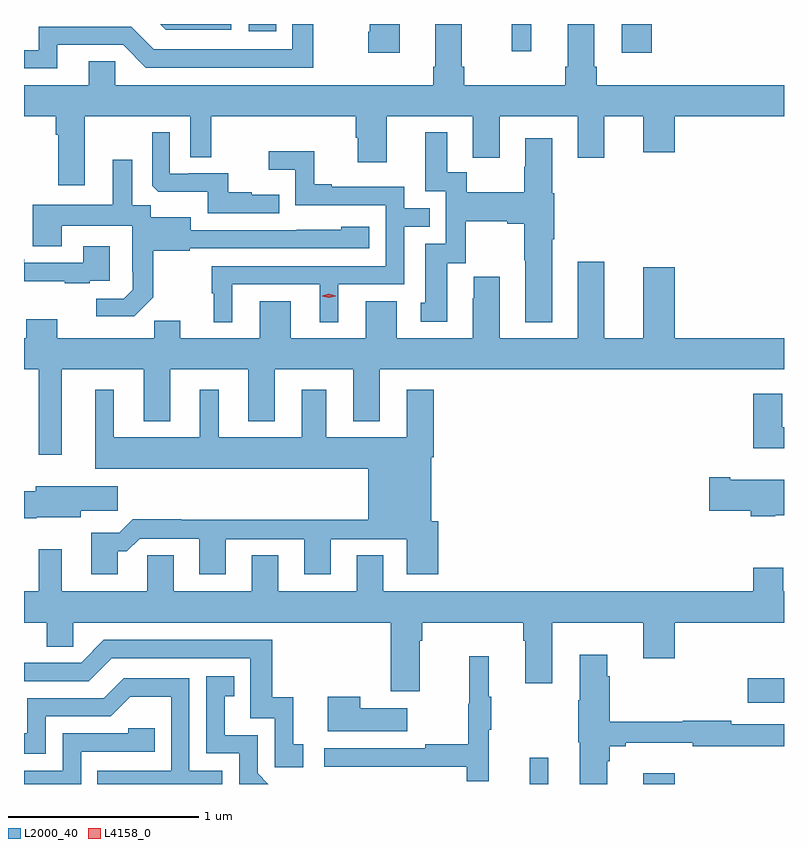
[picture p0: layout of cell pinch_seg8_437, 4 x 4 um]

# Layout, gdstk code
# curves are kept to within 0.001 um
import gdstk
lib = gdstk.Library(unit=1e-6, precision=1e-09)
def R(c, l, rs):  # rectangles x0, y0, x1, y1
    for r in rs: c.add(gdstk.rectangle(r[:2], r[2:], *l))
def P(c, l, *ps):  # polygons
    for p in ps: c.add(gdstk.Polygon(p, *l))
L2000_40 = (2000, 40)
L4158_0 = (4158, 0)

pinch_seg8_437 = lib.new_cell('pinch_seg8_437')
R(pinch_seg8_437, L2000_40, [(332.241,1132.966,332.338,1133.104), (332.84,1132.966,333.004,1133.023), (333.39,1133.393,333.58,1133.523), (332.726,1136.814,332.885,1136.966), (332.146,1136.823,332.249,1136.966), (330.762,1136.928,330.908,1136.966)])
P(pinch_seg8_437, L2000_40, [(331.558,1136.966),(331.4,1136.966),(331.4,1136.926),(331.393,1136.926),(331.393,1136.814),(331.558,1136.814)],
  [(330.672,1136.966),(330.297,1136.966),(330.326,1136.937),(330.672,1136.937)],
  [(329.755,1136.856),(330.102,1136.856),(330.222,1136.736),(331.102,1136.736),(331.102,1136.966),(330.993,1136.966),(330.993,1136.832),(330.264,1136.832),(330.144,1136.952),(329.658,1136.952),(329.658,1136.829),(329.58,1136.829),(329.58,1136.733),(329.755,1136.733)],
  [(329.899,1136.48),(330.456,1136.48),(330.456,1136.266),(330.565,1136.266),(330.565,1136.48),(331.325,1136.48),(331.325,1136.367),(331.337,1136.367),(331.337,1136.238),(331.489,1136.238),(331.489,1136.48),(331.943,1136.48),(331.943,1136.262),(332.083,1136.262),(332.083,1136.48),(332.495,1136.48),(332.495,1136.262),(332.635,1136.262),(332.635,1136.48),(332.84,1136.48),(332.84,1136.292),(333.004,1136.292),(333.004,1136.48),(333.58,1136.48),(333.58,1136.644),(332.594,1136.644),(332.594,1136.74),(332.581,1136.74),(332.581,1136.965),(332.441,1136.965),(332.441,1136.74),(332.429,1136.74),(332.429,1136.644),(331.898,1136.644),(331.898,1136.74),(331.885,1136.74),(331.885,1136.966),(331.745,1136.966),(331.745,1136.74),(331.733,1136.74),(331.733,1136.644),(330.06,1136.644),(330.06,1136.771),(329.921,1136.771),(329.921,1136.644),(329.58,1136.644),(329.58,1136.48),(329.747,1136.48),(329.747,1136.384),(329.759,1136.384),(329.759,1136.118),(329.899,1136.118)],
  [(332.359,1135.832),(332.372,1135.832),(332.372,1136.076),(332.359,1136.076),(332.359,1136.365),(332.219,1136.365),(332.219,1136.214),(332.212,1136.214),(332.212,1136.08),(331.909,1136.08),(331.909,1136.186),(331.807,1136.186),(331.807,1136.395),(331.691,1136.395),(331.691,1136.085),(331.8,1136.085),(331.8,1135.809),(331.691,1135.809),(331.691,1135.5),(331.667,1135.5),(331.667,1135.398),(331.807,1135.398),(331.807,1135.706),(331.905,1135.706),(331.905,1135.928),(332.123,1135.928),(332.123,1135.916),(332.212,1135.916),(332.212,1135.723),(332.219,1135.723),(332.219,1135.397),(332.359,1135.397)],
  [(330.923,1136.068),(330.779,1136.068),(330.779,1136.08),(330.656,1136.08),(330.656,1136.181),(330.448,1136.181),(330.448,1136.178),(330.348,1136.178),(330.348,1136.395),(330.255,1136.395),(330.255,1136.115),(330.287,1136.084),(330.546,1136.084),(330.546,1135.971),(330.923,1135.971)],
  [(330.676,1135.596),(331.136,1135.596),(331.136,1135.397),(331.234,1135.397),(331.234,1135.596),(331.581,1135.596),(331.581,1135.899),(331.715,1135.899),(331.715,1135.995),(331.581,1135.995),(331.581,1136.109),(331.201,1136.109),(331.201,1136.122),(331.107,1136.122),(331.107,1136.297),(330.867,1136.297),(330.867,1136.198),(331.008,1136.198),(331.008,1136.013),(331.485,1136.013),(331.485,1135.692),(330.567,1135.692),(330.567,1135.548),(330.578,1135.548),(330.578,1135.397),(330.676,1135.397)],
  [(330.261,1135.527),(330.261,1135.773),(330.453,1135.773),(330.453,1135.785),(331.396,1135.785),(331.396,1135.9),(331.251,1135.9),(331.251,1135.882),(330.457,1135.881),(330.457,1135.948),(330.246,1135.948),(330.246,1136.012),(330.151,1136.012),(330.151,1136.251),(330.047,1136.251),(330.047,1136.014),(329.627,1136.014),(329.627,1135.795),(329.779,1135.795),(329.779,1135.904),(330.15,1135.904),(330.15,1135.663),(330.152,1135.663),(330.152,1135.568),(330.105,1135.521),(329.961,1135.521),(329.961,1135.427),(330.161,1135.427)],
  [(329.927,1135.614),(330.031,1135.614),(330.031,1135.795),(329.891,1135.795),(329.891,1135.71),(329.581,1135.71),(329.581,1135.729),(329.58,1135.729),(329.58,1135.613),(329.795,1135.613),(329.795,1135.602),(329.927,1135.602)],
  [(330.761,1134.875),(330.901,1134.875),(330.901,1135.148),(331.313,1135.148),(331.313,1134.875),(331.453,1134.875),(331.453,1135.148),(333.58,1135.148),(333.58,1135.312),(333.004,1135.312),(333.004,1135.687),(332.84,1135.687),(332.84,1135.312),(332.635,1135.312),(332.635,1135.714),(332.495,1135.714),(332.495,1135.312),(332.083,1135.312),(332.083,1135.636),(331.946,1135.636),(331.946,1135.523),(331.943,1135.523),(331.943,1135.312),(331.543,1135.312),(331.543,1135.507),(331.379,1135.507),(331.379,1135.312),(330.985,1135.312),(330.985,1135.507),(330.821,1135.507),(330.821,1135.312),(330.403,1135.312),(330.403,1135.403),(330.265,1135.403),(330.265,1135.312),(329.755,1135.312),(329.755,1135.411),(329.591,1135.411),(329.591,1135.312),(329.58,1135.312),(329.58,1135.148),(329.658,1135.148),(329.658,1134.699),(329.779,1134.699),(329.779,1135.148),(330.209,1135.148),(330.209,1134.875),(330.349,1134.875),(330.349,1135.148),(330.761,1135.148)],
  [(330.073,1134.191),(330.122,1134.191),(330.189,1134.258),(330.503,1134.258),(330.503,1134.069),(330.643,1134.069),(330.643,1134.255),(331.055,1134.255),(331.055,1134.069),(331.195,1134.069),(331.195,1134.255),(331.595,1134.255),(331.595,1134.069),(331.76,1134.069),(331.76,1134.348),(331.723,1134.348),(331.723,1134.686),(331.736,1134.686),(331.736,1135.042),(331.595,1135.042),(331.595,1134.79),(331.171,1134.79),(331.171,1135.042),(331.043,1135.042),(331.043,1134.79),(330.604,1134.79),(330.604,1135.042),(330.506,1135.042),(330.506,1134.79),(330.052,1134.79),(330.052,1135.042),(329.954,1135.042),(329.954,1134.626),(331.391,1134.626),(331.391,1134.356),(330.407,1134.356),(330.407,1134.359),(330.152,1134.359),(330.082,1134.289),(329.933,1134.289),(329.933,1134.069),(330.073,1134.069)],
  [(333.58,1134.844),(333.571,1134.844),(333.571,1135.021),(333.419,1135.021),(333.419,1134.734),(333.58,1134.734)],
  [(333.534,1134.38),(333.58,1134.38),(333.58,1134.568),(333.298,1134.568),(333.298,1134.581),(333.186,1134.581),(333.186,1134.403),(333.404,1134.403),(333.404,1134.374),(333.534,1134.374)],
  [(329.646,1134.371),(329.878,1134.371),(329.878,1134.403),(330.073,1134.403),(330.073,1134.532),(329.642,1134.532),(329.642,1134.506),(329.58,1134.506),(329.58,1134.364),(329.646,1134.364)],
  [(331.663,1133.72),(331.676,1133.72),(331.676,1133.816),(332.207,1133.816),(332.207,1133.72),(332.219,1133.72),(332.219,1133.496),(332.359,1133.496),(332.359,1133.816),(332.84,1133.816),(332.84,1133.628),(333.004,1133.628),(333.004,1133.816),(333.58,1133.816),(333.58,1133.98),(333.575,1133.98),(333.575,1134.104),(333.419,1134.104),(333.419,1133.98),(331.471,1133.98),(331.471,1134.17),(331.331,1134.17),(331.331,1133.98),(330.919,1133.98),(330.919,1134.17),(330.779,1134.17),(330.779,1133.98),(330.367,1133.98),(330.367,1134.17),(330.228,1134.17),(330.228,1133.98),(329.779,1133.98),(329.779,1134.202),(329.658,1134.202),(329.658,1133.98),(329.58,1133.98),(329.58,1133.816),(329.699,1133.816),(329.699,1133.689),(329.838,1133.689),(329.838,1133.816),(331.511,1133.816),(331.511,1133.454),(331.663,1133.454)],
  [(331.051,1133.175),(330.998,1133.175),(330.998,1133.422),(330.887,1133.422),(330.887,1133.724),(330,1133.724),(329.88,1133.604),(329.58,1133.604),(329.58,1133.508),(329.922,1133.508),(330.042,1133.628),(330.771,1133.628),(330.771,1133.313),(330.9,1133.313),(330.9,1133.055),(331.051,1133.055)],
  [(332.65,1133.087),(332.663,1133.087),(332.663,1133.164),(332.746,1133.164),(332.746,1133.183),(333.1,1133.183),(333.1,1133.164),(333.58,1133.164),(333.58,1133.28),(333.302,1133.28),(333.302,1133.3),(333.046,1133.3),(333.046,1133.293),(332.663,1133.293),(332.663,1133.534),(332.65,1133.534),(332.65,1133.647),(332.504,1133.647),(332.504,1133.408),(332.497,1133.408),(332.497,1133.187),(332.504,1133.187),(332.504,1132.966),(332.65,1132.966)],
  [(332.027,1133.251),(332.038,1133.251),(332.038,1133.425),(332.027,1133.425),(332.027,1133.638),(331.924,1133.638),(331.924,1133.388),(331.917,1133.388),(331.917,1133.174),(331.693,1133.174),(331.693,1133.154),(331.161,1133.154),(331.161,1133.058),(331.909,1133.058),(331.909,1132.98),(332.027,1132.98)],
  [(330.81,1133.022),(330.81,1133.223),(330.637,1133.223),(330.637,1133.427),(330.686,1133.427),(330.686,1133.533),(330.54,1133.533),(330.54,1133.127),(330.714,1133.127),(330.714,1132.966),(330.866,1132.966)],
  [(330.624,1133.037),(330.45,1133.037),(330.45,1133.523),(330.104,1133.523),(329.999,1133.418),(329.596,1133.418),(329.596,1133.233),(329.58,1133.233),(329.58,1133.124),(329.694,1133.124),(329.694,1133.322),(330.036,1133.322),(330.14,1133.426),(330.354,1133.426),(330.354,1133.037),(329.965,1133.037),(329.965,1132.966),(330.624,1132.966)],
  [(331.597,1133.365),(331.349,1133.365),(331.349,1133.425),(331.178,1133.425),(331.178,1133.243),(331.597,1133.243)],
  [(329.88,1133.136),(330.269,1133.136),(330.269,1133.259),(330.129,1133.259),(330.129,1133.232),(329.784,1133.232),(329.784,1133.037),(329.58,1133.037),(329.58,1132.966),(329.88,1132.966)])
P(pinch_seg8_437, L4158_0, [(331.185,1135.525),(331.149,1135.534),(331.149,1135.535),(331.149,1135.535),(331.185,1135.545),(331.221,1135.535),(331.221,1135.535),(331.221,1135.534)])

lib.write_gds('pinch_seg8_437.gds')
